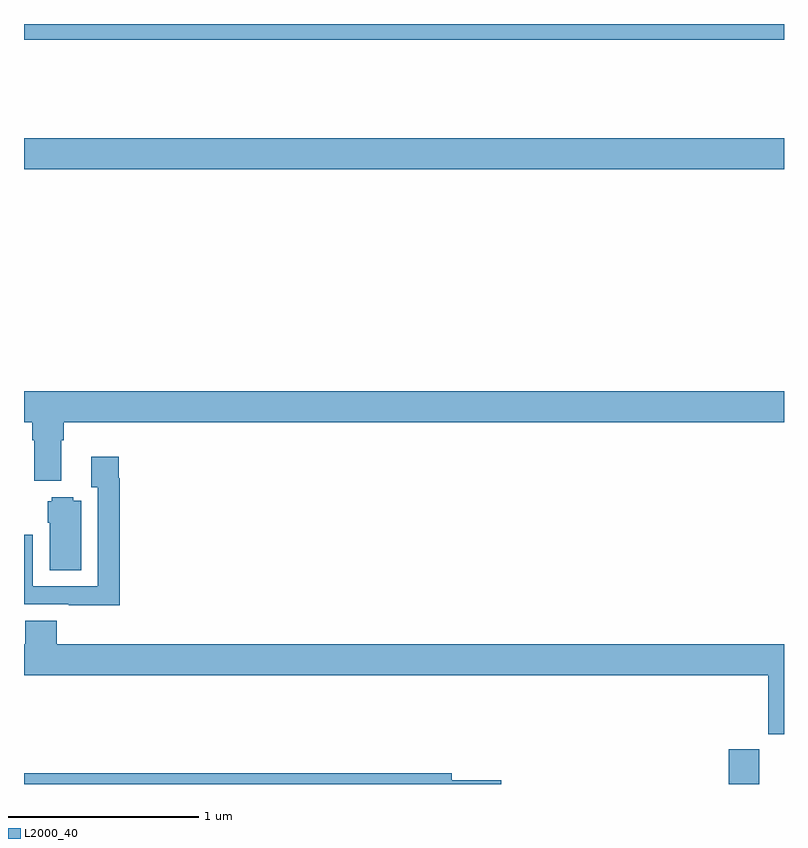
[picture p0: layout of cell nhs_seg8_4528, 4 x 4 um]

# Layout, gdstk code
import gdstk
lib = gdstk.Library(unit=1e-6, precision=1e-09)
def R(c, l, rs):  # rectangles x0, y0, x1, y1
    for r in rs: c.add(gdstk.rectangle(r[:2], r[2:], *l))
def P(c, l, *ps):  # polygons
    for p in ps: c.add(gdstk.Polygon(p, *l))
L2000_40 = (2000, 40)

nhs_seg8_4528 = lib.new_cell('nhs_seg8_4528')
R(nhs_seg8_4528, L2000_40, [(388.709,1143.9,388.869,1144.084), (385,1147.136,389,1147.3), (385,1147.816,389,1147.9)])
P(nhs_seg8_4528, L2000_40, [(385.195,1145.708),(385.208,1145.708),(385.208,1145.804),(389,1145.804),(389,1145.968),(385,1145.968),(385,1145.804),(385.043,1145.804),(385.043,1145.708),(385.055,1145.708),(385.055,1145.495),(385.195,1145.495)],
  [(385.505,1145.51),(385.498,1145.51),(385.498,1145.623),(385.355,1145.623),(385.355,1145.462),(385.389,1145.462),(385.389,1144.941),(385.047,1144.941),(385.047,1145.212),(385,1145.212),(385,1144.845),(385.235,1144.845),(385.235,1144.841),(385.505,1144.841)],
  [(385.3,1145.392),(385.26,1145.392),(385.26,1145.41),(385.146,1145.41),(385.146,1145.388),(385.124,1145.388),(385.124,1145.274),(385.136,1145.274),(385.136,1145.026),(385.3,1145.026)],
  [(389,1144.636),(385.172,1144.636),(385.172,1144.76),(385.007,1144.76),(385.007,1144.636),(385,1144.636),(385,1144.472),(388.916,1144.472),(388.916,1144.163),(389,1144.163)],
  [(387.511,1143.92),(387.25,1143.92),(387.25,1143.956),(385,1143.956),(385,1143.9),(387.511,1143.9)])

lib.write_gds('nhs_seg8_4528.gds')
